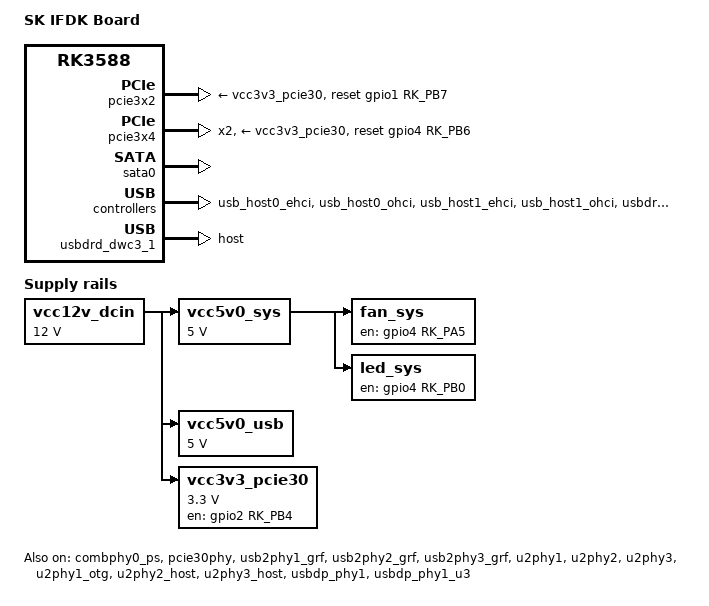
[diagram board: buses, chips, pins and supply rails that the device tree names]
// SPDX-License-Identifier: (GPL-2.0+ OR MIT)
/*
* Copyright (c) 2025 Sergey Kharenko
* Copyright (c) 2021 Rockchip Electronics Co., Ltd.
*/

/dts-v1/;
#include "rk3588.dtsi"
#include "rk3588-u-boot.dtsi"
#include <dt-bindings/input/input.h>

/ {
    model = "SK IFDK Board";
	compatible = "sk,ifdk", "rockchip,rk3588";
	
    aliases {
		mmc0 = &sdhci;
		mmc1 = &sdmmc;
        sata0 = &sata0;
	};

    fan_sys: fan-sys {
		u-boot,dm-pre-reloc;
		compatible = "regulator-fixed";
		regulator-name = "fan_sys";
		enable-active-high;
		gpio = <&gpio4 RK_PA5 GPIO_ACTIVE_HIGH>; // Turn on fan
		regulator-boot-on;
		regulator-always-on;
		vin-supply = <&vcc5v0_sys>;
	};

    led_sys: led-sys {
		u-boot,dm-pre-reloc;
		compatible = "regulator-fixed";
		regulator-name = "led_sys";
		enable-active-high;
		gpio = <&gpio4 RK_PB0 GPIO_ACTIVE_HIGH>; // Turn on user led
		regulator-boot-on;
		regulator-always-on;
		vin-supply = <&vcc5v0_sys>;
	};

	vcc12v_dcin: vcc12v-dcin {
		u-boot,dm-pre-reloc;
		compatible = "regulator-fixed";
		regulator-name = "vcc12v_dcin";
		regulator-always-on;
		regulator-boot-on;
		regulator-min-microvolt = <12000000>;
		regulator-max-microvolt = <12000000>;
	};

	vcc5v0_sys: vcc5v0-sys {
		u-boot,dm-pre-reloc;
		compatible = "regulator-fixed";
		regulator-name = "vcc5v0_sys";
		regulator-always-on;
		regulator-boot-on;
		regulator-min-microvolt = <5000000>;
		regulator-max-microvolt = <5000000>;
		vin-supply = <&vcc12v_dcin>;
	};

    vcc5v0_usb: vcc5v0-usb-regulator {
        u-boot,dm-pre-reloc;
		compatible = "regulator-fixed";
		regulator-name = "vcc5v0_usb";
		regulator-always-on;
		regulator-boot-on;
		regulator-min-microvolt = <5000000>;
		regulator-max-microvolt = <5000000>;
		vin-supply = <&vcc12v_dcin>;
	};

    vcc3v3_pcie30: vcc3v3-pcie30-regulator {
        u-boot,dm-pre-reloc;
		compatible = "regulator-fixed";
		regulator-name = "vcc3v3_pcie30";
		regulator-always-on;
		regulator-boot-on;
        regulator-min-microvolt = <3300000>;
		regulator-max-microvolt = <3300000>;
		enable-active-high;
        pinctrl-names = "default";
		pinctrl-0 = <&pcie30_pwren>;
		gpios = <&gpio2 RK_PB4 GPIO_ACTIVE_HIGH>;
		startup-delay-us = <5000>;
		vin-supply = <&vcc12v_dcin>;
    };
};

&combphy0_ps {
    u-boot,dm-pre-reloc;
	status = "okay";
};

&pcie30phy{
    u-boot,dm-pre-reloc;
	status="okay";
	rockchip,pcie30-phymode = <PHY_MODE_PCIE_NANBNB>;
};

&pcie3x2{
    u-boot,dm-pre-reloc;
	status="okay";
	supports-clkreq;
	pinctrl-names = "default";
	pinctrl-0 = <&pcie30x2m3_pins>;
	reset-gpios = <&gpio1 RK_PB7 GPIO_ACTIVE_HIGH>;
	vpcie3v3-supply=<&vcc3v3_pcie30>;
};

&pcie3x4{
    u-boot,dm-pre-reloc;
	status="okay";
	supports-clkreq;
    num-lanes = <2>;
	pinctrl-names = "default";
	pinctrl-0 = <&pcie30x4m1_pins>;
	reset-gpios = <&gpio4 RK_PB6 GPIO_ACTIVE_HIGH>;
	vpcie3v3-supply=<&vcc3v3_pcie30>;
};

&pinctrl {
    u-boot,dm-spl;
    pcie {
        u-boot,dm-pre-reloc;
        pcie30_pwren: pcie30-pwren {
            u-boot,dm-pre-reloc;
            rockchip,pins = <2 RK_PB4 RK_FUNC_GPIO &pcfg_pull_up>;
        };
    };
};

&sata0 {
    u-boot,dm-pre-reloc;
	status = "okay";
};

&usb2phy1_grf {
    u-boot,dm-pre-reloc;
	status = "okay";
};

&usb2phy2_grf {
    u-boot,dm-pre-reloc;
	status = "okay";
};

&usb2phy3_grf {
    u-boot,dm-pre-reloc;
	status = "okay";
};

&u2phy1 {
    u-boot,dm-pre-reloc;
	status = "okay";
};

&u2phy2 {
    u-boot,dm-pre-reloc;
	status = "okay";
};

&u2phy3 {
    u-boot,dm-pre-reloc;
	status = "okay";
};

&u2phy1_otg {
    u-boot,dm-pre-reloc;
	dr_mode = "host";
	status = "okay";
    phy-supply = <&vcc5v0_usb>;
};

&u2phy2_host {
    u-boot,dm-pre-reloc;
	dr_mode = "host";
	status = "okay";
    phy-supply = <&vcc5v0_usb>;
};

&u2phy3_host {
    u-boot,dm-pre-reloc;
	dr_mode = "host";
	status = "okay";
    phy-supply = <&vcc5v0_usb>;
};

&usb_host0_ehci {
    u-boot,dm-pre-reloc;
	status = "okay";
};

&usb_host0_ohci {
    u-boot,dm-pre-reloc;
	status = "okay";
};

&usb_host1_ehci {
    u-boot,dm-pre-reloc;
	status = "okay";
};

&usb_host1_ohci {
    u-boot,dm-pre-reloc;
	status = "okay";
};

&usbdp_phy1 {
    u-boot,dm-pre-reloc;
	status = "okay";
	rockchip,dp-lane-mux = <2 3>;
};

&usbdp_phy1_u3 {
    u-boot,dm-pre-reloc;
    status = "okay";
	phy-supply = <&vcc5v0_usb>;
};

&usbdrd3_1 {
    u-boot,dm-pre-reloc;
    status = "okay";
};

&usbdrd_dwc3_1 {
    u-boot,dm-pre-reloc;
	status = "okay";
    dr_mode = "host";
	snps,xhci-trb-ent-quirk;
	maximum-speed = "super-speed";
};
